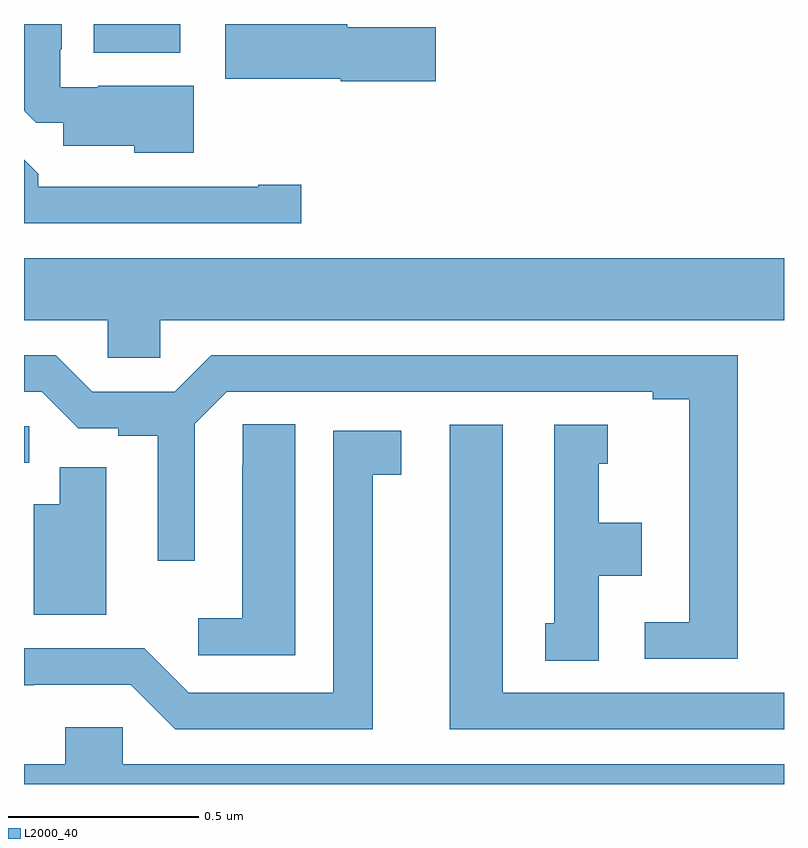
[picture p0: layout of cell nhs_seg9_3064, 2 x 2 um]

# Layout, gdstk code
import gdstk
lib = gdstk.Library(unit=1e-6, precision=1e-09)
def R(c, l, rs):  # rectangles x0, y0, x1, y1
    for r in rs: c.add(gdstk.rectangle(r[:2], r[2:], *l))
def P(c, l, *ps):  # polygons
    for p in ps: c.add(gdstk.Polygon(p, *l))
L2000_40 = (2000, 40)

nhs_seg9_3064 = lib.new_cell('nhs_seg9_3064')
R(nhs_seg9_3064, L2000_40, [(148,1229.346,148.014,1229.442), (148.184,1230.425,148.411,1230.5)])
P(nhs_seg9_3064, L2000_40, [(148.447,1230.337),(148.195,1230.337),(148.195,1230.333),(148.095,1230.333),(148.095,1230.433),(148.099,1230.433),(148.099,1230.5),(148,1230.5),(148,1230.272),(148.032,1230.24),(148.103,1230.24),(148.103,1230.179),(148.29,1230.179),(148.29,1230.161),(148.447,1230.161)],
  [(149.083,1230.491),(148.85,1230.491),(148.85,1230.5),(148.53,1230.5),(148.53,1230.356),(148.833,1230.356),(148.833,1230.349),(149.083,1230.349)],
  [(148.729,1230.077),(148.616,1230.077),(148.616,1230.072),(148.037,1230.072),(148.037,1230.106),(148,1230.143),(148,1229.976),(148.729,1229.976)],
  [(148.359,1229.72),(150,1229.72),(150,1229.884),(148,1229.884),(148,1229.72),(148.221,1229.72),(148.221,1229.622),(148.359,1229.622)],
  [(149.878,1229.628),(148.493,1229.628),(148.397,1229.532),(148.179,1229.532),(148.083,1229.628),(148,1229.628),(148,1229.532),(148.047,1229.532),(148.143,1229.436),(148.248,1229.436),(148.248,1229.416),(148.352,1229.416),(148.352,1229.088),(148.449,1229.088),(148.449,1229.448),(148.533,1229.532),(149.654,1229.532),(149.654,1229.512),(149.75,1229.512),(149.75,1228.926),(149.634,1228.926),(149.634,1228.83),(149.878,1228.83)],
  [(148.714,1229.447),(148.575,1229.447),(148.575,1229.339),(148.574,1229.339),(148.574,1228.936),(148.458,1228.936),(148.458,1228.839),(148.714,1228.839)],
  [(149.512,1229.048),(149.626,1229.048),(149.626,1229.188),(149.512,1229.188),(149.512,1229.343),(149.536,1229.343),(149.536,1229.446),(149.396,1229.446),(149.396,1228.923),(149.372,1228.923),(149.372,1228.825),(149.512,1228.825)],
  [(150,1228.74),(149.26,1228.74),(149.26,1229.446),(149.12,1229.446),(149.12,1228.644),(150,1228.644)],
  [(148.918,1229.314),(148.993,1229.314),(148.993,1229.43),(148.814,1229.43),(148.814,1228.74),(148.434,1228.74),(148.317,1228.857),(148,1228.857),(148,1228.76),(148.025,1228.76),(148.025,1228.761),(148.281,1228.761),(148.398,1228.644),(148.918,1228.644)],
  [(148.216,1229.334),(148.094,1229.334),(148.094,1229.236),(148.025,1229.236),(148.025,1228.946),(148.216,1228.946)],
  [(150,1228.552),(148.26,1228.552),(148.26,1228.65),(148.109,1228.65),(148.109,1228.552),(148,1228.552),(148,1228.5),(150,1228.5)])

lib.write_gds('nhs_seg9_3064.gds')
